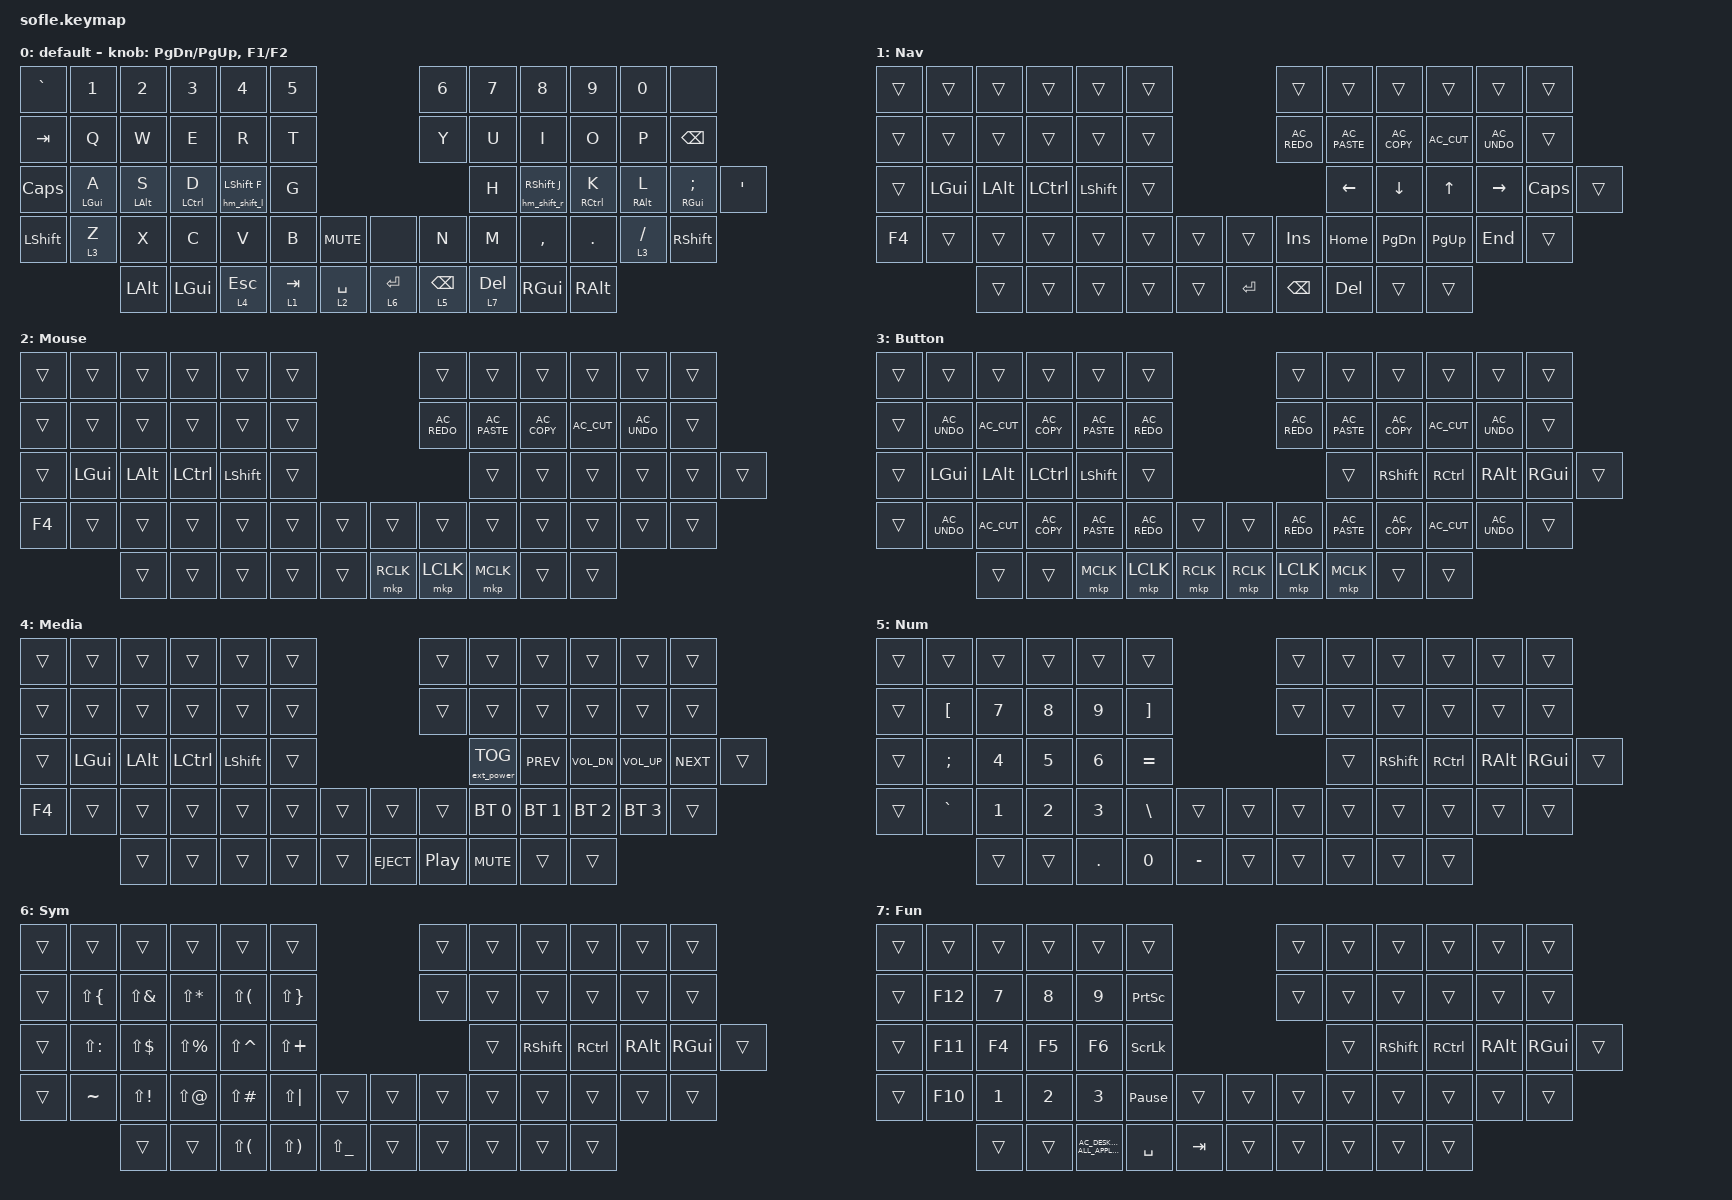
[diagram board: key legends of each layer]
/*
 * Copyright (c) 2020 The ZMK Contributors
 *
 * SPDX-License-Identifier: MIT
 */

// ZMK includes
#include <behaviors.dtsi>
#include <dt-bindings/zmk/bt.h>
#include <dt-bindings/zmk/ext_power.h>
#include <dt-bindings/zmk/keys.h>
#include <dt-bindings/zmk/mouse.h>

#include "includes/zmk-helpers/helper.h"
#include "includes/zmk-helpers/keypos_def/keypos_60keys.h"

#define KEYS_L LN0 LN1 LN2 LN2 LN4 LN5 LT0 LT1 LT2 LT3 LT4 LT5 LM0 LM1 LM2 LM3 LM4 LM5 LB0 LB1 LB2 LB3 LB4 LB5
#define KEYS_R RN0 RN1 RN2 RN3 RN4 RN5 RT0 RT1 RT2 RT3 RT4 RT5 RM0 RM1 RM2 RM3 RM4 RM5 RB0 RB1 RB2 RB3 RB4 RB5
#define KEYS_T LH4 LH3 LH2 LH1 LH0 RH0 RH1 RH2 RH3 RH4

#include "includes/settings.dtsi"
#include "includes/behaviours_homerow_mods.dtsi"

#define Base 0
#define Nav 1
#define Mouse 2
#define Button 3
#define Media 4
#define Num 5
#define Sym 6
#define Fun 7

&soft_off {
    hold-time-ms = <5000>; // Only turn off it the key is held for 5 seconds or longer.
};

/ {

    conditional_layers { compatible = "zmk,conditional-layers"; };

    keymap {
        compatible = "zmk,keymap";

        Base {
            display-name = "default";

            // ------------------------------------------------------------------------------------------------------------
            // |   `   |  1  |  2  |  3   |  4   |  5   |                   |  6   |  7    |  8    |  9   |   0   |       |
            // |  ESC  |  Q  |  W  |  E   |  R   |  T   |                   |  Y   |  U    |  I    |  O   |   P   | BKSPC |
            // |  TAB  |  A  |  S  |  D   |  F   |  G   |                   |  H   |  J    |  K    |  L   |   ;   |   '   |
            // | SHIFT |  Z  |  X  |  C   |  V   |  B   |  MUTE  |  |       |  N   |  M    |  ,    |  .   |   /   | SHIFT |
            //               | GUI | ALT  | CTRL | LOWER|  SPACE |  | ENTER | RAISE| CTRL  | ALT   | GUI  |

            bindings = <
&kp GRAVE     &kp N1                &kp N2         &kp N3        &kp N4        &kp N5                                  &kp N6           &kp N7        &kp N8         &kp N9         &kp N0                   &none
&kp TAB       &kp Q                 &kp W          &kp E         &kp R         &kp T                                   &kp Y            &kp U         &kp I          &kp O          &kp P                    &kp BSPC
&kp CAPSLOCK  &hm_l LGUI A  &hm_l LALT S  &hm_l LCTRL D  &hm_shift_l LSHIFT F  &kp G                                   &kp H            &hm_shift_r RSHIFT J  &hm_r RCTRL K   &hm_r RALT L  &hm_r RGUI SEMI  &kp SQT
&kp LSHFT     &lt 3 Z               &kp X          &kp C         &kp V         &kp B        &kp C_MUTE    &none        &kp N            &kp M         &kp COMMA      &kp DOT        &lt 3 FSLH                 &kp RSHFT
                                    &kp LEFT_ALT   &kp LEFT_GUI  &lt 4 ESC     &lt 1 TAB    &lt 2 SPACE   &lt 6 ENTER  &lt 5 BACKSPACE  &lt 7 DEL     &kp RIGHT_GUI  &kp RIGHT_ALT
            >;

            sensor-bindings =
                <&inc_dec_kp PAGE_DOWN PAGE_UP>,
                <&inc_dec_kp F1 F2>;
        };

        Nav {
            bindings = <
&trans  &trans     &trans     &trans    &trans    &trans                       &trans         &trans          &trans         &trans        &trans         &trans
&trans  &trans     &trans     &trans    &trans    &trans                       &kp C_AC_REDO  &kp C_AC_PASTE  &kp C_AC_COPY  &kp C_AC_CUT  &kp C_AC_UNDO  &trans
&trans  &kp LGUI   &kp LALT   &kp LCTRL &kp LSHFT &trans                       &kp LEFT       &kp DOWN        &kp UP         &kp RIGHT     &kp CAPS       &trans
&kp F4  &trans     &trans     &trans    &trans    &trans  &trans    &trans     &kp INSERT     &kp HOME        &kp PAGE_DOWN  &kp PAGE_UP   &kp END        &trans
                   &trans     &trans    &trans    &trans  &trans    &kp ENTER  &kp BSPC       &kp DEL         &trans         &trans
            >;
        };

        Mouse {
            bindings = <
&trans  &trans     &trans     &trans    &trans    &trans                       &trans         &trans          &trans         &trans        &trans         &trans
&trans  &trans     &trans     &trans    &trans    &trans                       &kp C_AC_REDO  &kp C_AC_PASTE  &kp C_AC_COPY  &kp C_AC_CUT  &kp C_AC_UNDO  &trans
&trans  &kp LGUI   &kp LALT   &kp LCTRL &kp LSHFT &trans                       &trans         &trans          &trans         &trans        &trans         &trans
&kp F4  &trans     &trans     &trans    &trans    &trans  &trans    &trans     &trans         &trans          &trans         &trans        &trans         &trans
                   &trans     &trans    &trans    &trans  &trans    &mkp RCLK  &mkp LCLK      &mkp MCLK       &trans         &trans
            >;
        };

        Button {
            bindings = <
&trans  &trans         &trans        &trans         &trans          &trans                                 &trans         &trans          &trans         &trans             &trans         &trans
&trans  &kp C_AC_UNDO  &kp C_AC_CUT  &kp C_AC_COPY  &kp C_AC_PASTE  &kp C_AC_REDO                          &kp C_AC_REDO  &kp C_AC_PASTE  &kp C_AC_COPY  &kp C_AC_CUT       &kp C_AC_UNDO  &trans
&trans  &kp LGUI       &kp LALT      &kp LCTRL      &kp LSHFT       &trans                                 &trans         &kp RSHFT       &kp RIGHT_CONTROL   &kp RALT      &kp RGUI       &trans
&trans  &kp C_AC_UNDO  &kp C_AC_CUT  &kp C_AC_COPY  &kp C_AC_PASTE  &kp C_AC_REDO  &trans       &trans     &kp C_AC_REDO  &kp C_AC_PASTE  &kp C_AC_COPY  &kp C_AC_CUT       &kp C_AC_UNDO  &trans
                       &trans        &trans         &mkp MCLK       &mkp LCLK      &mkp RCLK    &mkp RCLK  &mkp LCLK      &mkp MCLK       &trans         &trans
            >;
        };

        Media {
            bindings = <
&trans  &trans     &trans     &trans    &trans    &trans                         &trans             &trans        &trans        &trans           &trans        &trans
&trans  &trans     &trans     &trans    &trans    &trans                         &trans             &trans        &trans        &trans           &trans        &trans
&trans  &kp LGUI   &kp LALT   &kp LCTRL &kp LSHFT &trans                         &ext_power EP_TOG  &kp C_PREV    &kp C_VOL_DN  &kp C_VOLUME_UP  &kp C_NEXT    &trans
&kp F4  &trans   &trans     &trans    &trans    &trans  &trans    &trans       &trans             &bt BT_SEL 0  &bt BT_SEL 1  &bt BT_SEL 2     &bt BT_SEL 3  &trans
                   &trans     &trans    &trans    &trans  &trans    &kp C_EJECT  &kp C_PLAY_PAUSE   &kp C_MUTE    &trans        &trans
            >;
        };

        Num {
            bindings = <
&trans  &trans     &trans  &trans  &trans   &trans                          &trans  &trans    &trans    &trans             &trans     &trans
&trans  &kp LBKT   &kp N7  &kp N8  &kp N9   &kp RBKT                        &trans  &trans    &trans    &trans             &trans     &trans
&trans  &kp SEMI   &kp N4  &kp N5  &kp N6   &kp EQUAL                       &trans  &kp RSHFT &kp RIGHT_CONTROL  &kp RALT  &kp RGUI   &trans
&trans  &kp GRAVE  &kp N1  &kp N2  &kp N3   &kp BSLH   &trans       &trans  &trans  &trans    &trans    &trans             &trans     &trans
                   &trans  &trans  &kp DOT  &kp N0     &kp MINUS    &trans  &trans  &trans    &trans    &trans
            >;
        };

        Sym {
            bindings = <
&trans  &trans         &trans        &trans         &trans         &trans                                 &trans  &trans    &trans    &trans             &trans     &trans
&trans  &kp LS(LBRC)   &kp LS(AMPS)  &kp LS(STAR)   &kp LS(LPAR)   &kp LS(RBRC)                           &trans  &trans    &trans    &trans             &trans     &trans
&trans  &kp LS(COLON)  &kp LS(DLLR)  &kp LS(PRCNT)  &kp LS(CARET)  &kp LS(PLUS)                           &trans  &kp RSHFT &kp RIGHT_CONTROL  &kp RALT  &kp RGUI   &trans
&trans  &kp TILDE      &kp LS(EXCL)  &kp LS(AT)     &kp LS(POUND)  &kp LS(PIPE)  &trans           &trans  &trans  &trans    &trans    &trans             &trans     &trans
                       &trans        &trans         &kp LS(LPAR)   &kp LS(RPAR)  &kp LS(UNDER)    &trans  &trans  &trans    &trans    &trans
            >;
        };

        Fun {
            bindings = <
&trans  &trans   &trans  &trans  &trans                                  &trans                              &trans  &trans    &trans    &trans             &trans     &trans
&trans  &kp F12  &kp N7  &kp N8  &kp N9                                  &kp PRINTSCREEN                     &trans  &trans    &trans    &trans             &trans     &trans
&trans  &kp F11  &kp F4  &kp F5  &kp F6                                  &kp SCROLLLOCK                      &trans  &kp RSHFT &kp RIGHT_CONTROL  &kp RALT  &kp RGUI   &trans
&trans  &kp F10  &kp N1  &kp N2  &kp N3                                  &kp PAUSE_BREAK  &trans     &trans  &trans  &trans    &trans    &trans             &trans     &trans
                 &trans  &trans  &kp C_AC_DESKTOP_SHOW_ALL_APPLICATIONS  &kp SPACE        &kp TAB    &trans  &trans  &trans    &trans    &trans
            >;
        };
    };
};
